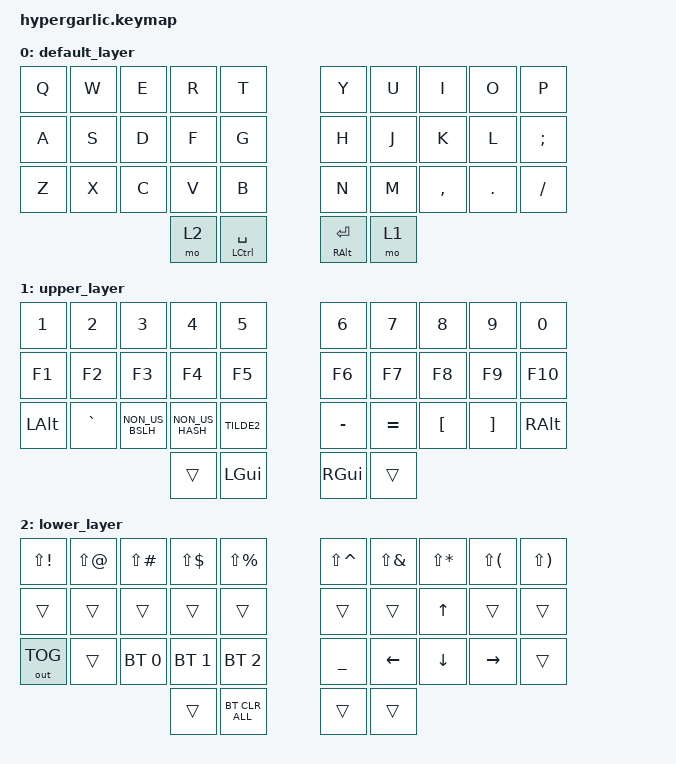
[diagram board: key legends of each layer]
#include <behaviors.dtsi>
#include <dt-bindings/zmk/bt.h>
#include <dt-bindings/zmk/keys.h>
#include <dt-bindings/zmk/outputs.h>

// Include the shared behaviors and macros FIRST

#include "generic_3x5_behaviors.dtsi"

// Include the shared layer definitions

#include "generic_3x5_layers.dtsi"

/ {
    combos {
        compatible = "zmk,combos";

        Tab {
            bindings = <&kp TAB>;
            key-positions = <10 21>;
        };

        Esc {
            bindings = <&kp ESCAPE>;
            key-positions = <0 11>;
        };

        Backspace {
            bindings = <&kp BACKSPACE>;
            key-positions = <9 18>;
        };
    };

    keymap {
        compatible = "zmk,keymap";

        default_layer {
            bindings = <
&kp Q  &kp W  &kp E  &kp R  &kp T              &kp Y                &kp U  &kp I      &kp O    &kp P
&kp A  &kp S  &kp D  &kp F  &kp G              &kp H                &kp J  &kp K      &kp L    &kp SEMI
&kp Z  &kp X  &kp C  &kp V  &kp B              &kp N                &kp M  &kp COMMA  &kp DOT  &kp SLASH
                     &mo 2  &mt LCTRL SPACE    &mt RIGHT_ALT ENTER  &mo 1
            >;
        };

        upper_layer {
            bindings = <
&kp N1    &kp N2     &kp N3           &kp N4           &kp N5        &kp N6     &kp N7     &kp N8    &kp N9    &kp N0
&kp F1    &kp F2     &kp F3           &kp F4           &kp F5        &kp F6     &kp F7     &kp F8    &kp F9    &kp F10
&kp LALT  &kp GRAVE  &kp NON_US_BSLH  &kp NON_US_HASH  &kp TILDE2    &kp MINUS  &kp EQUAL  &kp LBKT  &kp RBKT  &kp RALT
                                      &trans           &kp LGUI      &kp RGUI   &trans
            >;
        };

        lower_layer {
            bindings = <
&kp LS(EXCL)  &kp LS(AT)  &kp LS(POUND)  &kp LS(DLLR)  &kp LS(PRCNT)     &kp LS(CARET)  &kp LS(AMPS)  &kp LS(STAR)  &kp LS(LPAR)  &kp LS(RPAR)
&trans        &trans      &trans         &trans        &trans            &trans         &trans        &kp UP_ARROW  &trans        &trans
&out OUT_TOG  &trans      &bt BT_SEL 0   &bt BT_SEL 1  &bt BT_SEL 2      &kp UNDER      &kp LEFT      &kp DOWN      &kp RIGHT     &trans
                                         &trans        &bt BT_CLR_ALL    &trans         &trans
            >;
        };
    };
};
